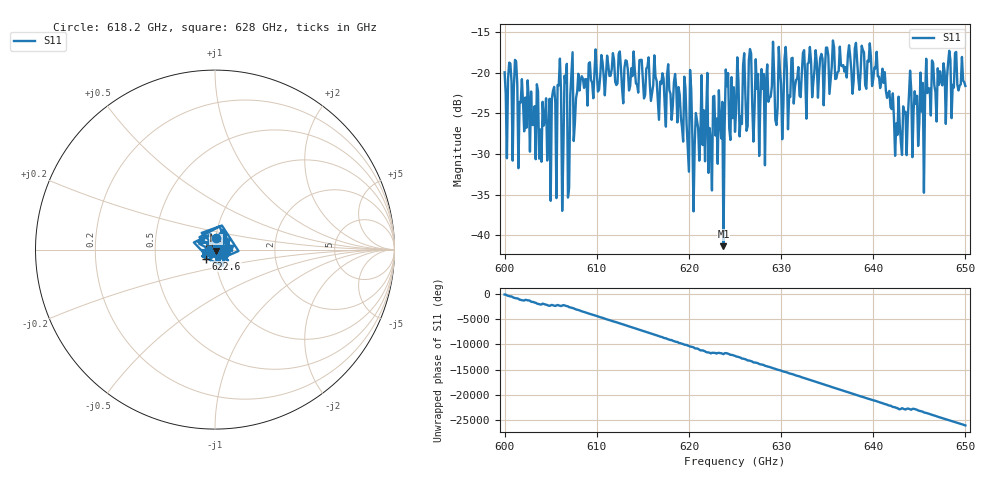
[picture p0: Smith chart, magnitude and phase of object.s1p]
!Created with skrf (http://scikit-rf.org).
# GHz S MA R 50.0
!freq magS11 angS11
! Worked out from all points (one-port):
!   401 points, 600 GHz to 650 GHz, reference 50 ohm
!   lowest |S11| = -41.3 dB at 623.8 GHz (marker M1), VSWR 1.02, Z = 50.5 - j0.677 ohm
!   |S11| at or under -10 dB: start of sweep to end of sweep
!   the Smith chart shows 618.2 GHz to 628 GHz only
!   S11 on the Smith chart (normalised r, x): 618.2 GHz: 1.00, +0.13; 622.6 GHz: 0.90, -0.09; 628 GHz: 1.17, +0.02
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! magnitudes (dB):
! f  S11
! 600 GHz  -20.0
! 604.8 GHz  -27.8
! 605.9 GHz  -21.6
! 606.2 GHz  -37.0
! 607.1 GHz  -22.8
! 608.2 GHz  -20.9
! 612.5 GHz  -17.4
! 618.2 GHz  -24.1
! 618.8 GHz  -26.1
! 620.6 GHz  -28.9
! 621.1 GHz  -30.8
! 622.1 GHz  -32.3
! 622.4 GHz  -28.6
! 622.6 GHz  -23.0
! 623.8 GHz  -41.3
! 624.1 GHz  -21.7
! 625 GHz  -27.3
! 626.6 GHz  -17.1
! 628 GHz  -22.0
! 631.2 GHz  -18.2
! 637.5 GHz  -18.0
! 640.4 GHz  -17.4
! 642.9 GHz  -26.4
! 643.8 GHz  -25.5
! 645.2 GHz  -24.8
! 645.9 GHz  -22.5
! 647.5 GHz  -21.6
! 650 GHz  -21.6
